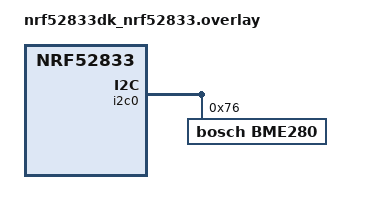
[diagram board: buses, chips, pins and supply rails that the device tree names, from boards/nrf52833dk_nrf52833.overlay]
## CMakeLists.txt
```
cmake_minimum_required(VERSION 3.28.0)
find_package(Zephyr REQUIRED HINTS $ENV{ZEPHYR_BASE})
project(firmware)
target_sources(app PRIVATE
    src/main.c
    src/sensors/sensor.c
    src/sensors/env.c
    src/dsp/features.c
    src/config/config.c
    src/ble/ble_svc.c)
target_include_directories(app PRIVATE src)
set(CMAKE_EXPORT_COMPILE_COMMANDS ON)
```

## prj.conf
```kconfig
# Zephyr Project Configuration File

# --- Logging ---
CONFIG_LOG=y
CONFIG_LOG_BACKEND_UART=y

# --- Bluetooth ---
CONFIG_BT=y
CONFIG_BT_PERIPHERAL=y
CONFIG_BT_DEVICE_NAME="EdgeOpt"

# --- Sensors & Hardware ---
CONFIG_SENSOR=y
CONFIG_ADC=y

# --- Floating Point Support ---
CONFIG_CBPRINTF_FP_SUPPORT=y

# --- I2C ---
CONFIG_I2C=y
CONFIG_BME280=y

CONFIG_BT_L2CAP_TX_MTU=247
CONFIG_BT_BUF_ACL_RX_SIZE=251

CONFIG_THREAD_STACK_INFO=y
CONFIG_INIT_STACKS=y
CONFIG_MAIN_STACK_SIZE=2048
```

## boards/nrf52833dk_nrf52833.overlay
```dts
   &i2c0 {
       status = "okay";

       bme280: bme280@76 {
           compatible = "bosch,bme280";
           reg = <0x76>;
       };
   };
```

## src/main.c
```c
/* EdgeOpt firmware: main loop only.
 * Sampling and processing live in sensors/ and dsp/, configuration in config/,
 * BLE in ble/. */
#include <stdio.h>
#include <string.h>
#include <zephyr/kernel.h>
#include <cmsis_core.h>
#include "sensors/env.h"
#include "sensors/sensor.h"
#include "dsp/features.h"
#include "config/config.h"
#include "ble/ble_svc.h"

#define N_MAX         128
#define EVENT_RMS_MG  50
#define CPU_MHZ       64U      /* nRF52833 core clock, DWT cycle counter */

static int32_t buf[N_MAX];
static uint16_t n;

/* Cycle counter used to measure processing time (k_cycle_get_32 only ticks at 32 kHz). */
static void dwt_init(void)
{
    CoreDebug->DEMCR |= CoreDebug_DEMCR_TRCENA_Msk;
    DWT->CYCCNT = 0;
    DWT->CTRL |= DWT_CTRL_CYCCNTENA_Msk;
}

int main(void)
{
    if (ble_svc_init() != 0) {
        return 0;
    }

    k_msleep(500);
    sensor_i2c_scan();
    sensor_init();
    dwt_init();

    uint32_t events = 0;
    bool above_prev = false;
    struct telemetry_pkt pkt = {0};
    int64_t next = k_uptime_get();
    uint32_t windows_since_report = 0;
    uint32_t busy_us = 0;                         /* CPU-busy time in the current window */
    uint32_t win_start_ms = k_uptime_get_32();
    struct config_pkt prev_cfg = config_get();

    struct env_sample env = {0};
    uint16_t env_mask = env_init();              /* bit0 BMP280 ready */
    uint32_t bme_last = k_uptime_get_32();
    if (env_mask & ENV_BME_OK) {
        env_read_bme(&env);
    }

    while (1) {
        struct config_pkt cfg = config_get();
        if (memcmp(&cfg, &prev_cfg, sizeof(cfg)) != 0) {
            n = 0;                       /* drop a window that mixes two configs */
            windows_since_report = 0;
            above_prev = false;
            prev_cfg = cfg;
        }
        uint32_t b0 = DWT->CYCCNT;                /* start of this iteration's work */   

        /* ---- Phase 1: Embedded Baseline - windowed RMS feature + processing time ---- */
        int32_t real_mg = sensor_read_mg();        /* always read: keeps CPU cost realistic */
        int32_t mg = cfg.source ? sensor_synth_mg(k_uptime_get_32()) : real_mg;
        buf[n++] = mg;

        if (n >= cfg.window_n) {
            uint32_t c0 = DWT->CYCCNT;
            uint32_t rms = window_rms(buf, n);
            uint32_t us = (DWT->CYCCNT - c0) / CPU_MHZ;

            bool above = rms > EVENT_RMS_MG;
            if (above && !above_prev) {                /* rising edge = one new event */
                events++;
                printf("EVENT: rms %u mg  events %u\n", rms, events);
            }
            above_prev = above;

            printf("rms %u mg  proc %u us\n", rms, us);
            n = 0;

            /* ---- Phase 1: CPU-load proxy = busy time / elapsed time, in permille ---- */
            uint32_t elapsed_ms = k_uptime_get_32() - win_start_ms;
            pkt.duty_permille = elapsed_ms ? (busy_us * 10U) / elapsed_ms : 0;   /* 0.01 % units */
            size_t unused = 0;
            if (k_thread_stack_space_get(k_current_get(), &unused) == 0) {
                pkt.stack_free = unused;               /* bytes never used so far (minimum headroom) */
            }
            busy_us = 0;
            win_start_ms = k_uptime_get_32();

            /* ---- Phase 1: telemetry packet assembly ---- */
            pkt.rms_mg = rms;
            pkt.proc_us = us;
            pkt.events = events;
            pkt.period_ms = cfg.sample_period_ms;
            pkt.temp_c100     = env.temp_c100;
            pkt.hum_c100      = env.hum_c100;
            pkt.press_dhpa    = env.press_dhpa;
            pkt.env_status    = env.status;
            pkt.windows++;
            pkt.uptime_ms = k_uptime_get_32();

            windows_since_report++;
            if (windows_since_report >= cfg.report_every) {
                windows_since_report = 0;

                /* ---- Phase 1: BLE telemetry out (one report every R windows) ---- */
                if (ble_svc_subscribed()) {
                    if (ble_svc_notify(&pkt) == 0) {
                        pkt.sent++;
                    } else {
                        pkt.notify_err++;
                    }
                    pkt.seq++;
                }
            }
        }                                          /* closes if (n >= cfg.window_n) */

        busy_us += (DWT->CYCCNT - b0) / CPU_MHZ;   /* work done this iteration, before sleeping */

        next += cfg.sample_period_ms;
        k_sleep(K_TIMEOUT_ABS_MS(next));

        uint32_t now = k_uptime_get_32();
        if ((env_mask & ENV_BME_OK) && (now - bme_last) >= ENV_BME_PERIOD_MS) {
            bme_last = now;
            env_read_bme(&env);
        }
    }                                              /* closes while */
}                                                  /* closes main */
```
